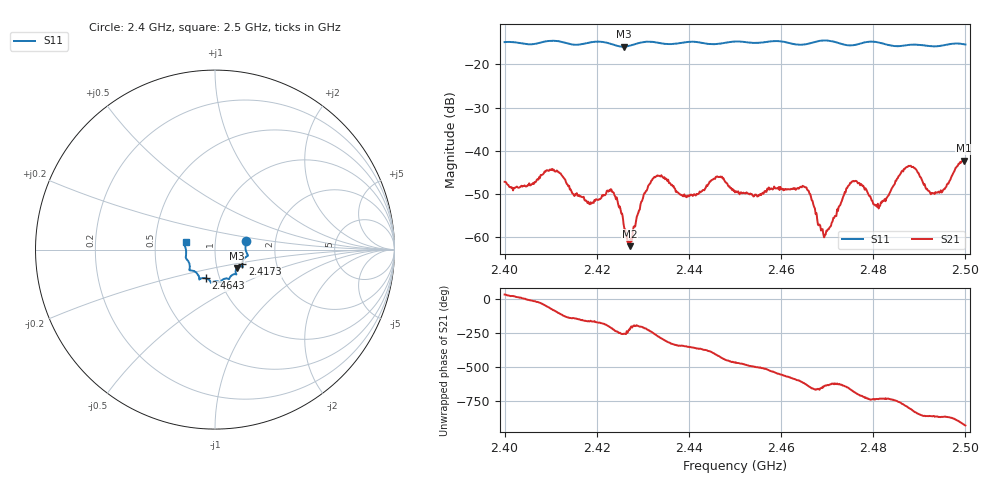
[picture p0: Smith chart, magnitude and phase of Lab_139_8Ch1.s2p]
# Hz S RI R 50
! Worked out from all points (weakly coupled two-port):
!   601 points, 2.4 GHz to 2.5 GHz, reference 50 ohm
!   highest |S21| = -42.31 dB at 2.4997 GHz (marker M1); lowest = -62.1 dB at 2.4272 GHz (marker M2)
!   lowest |S11| = -15.9 dB at 2.4258 GHz (marker M3), VSWR 1.38, Z = 62.2 - j13.3 ohm
!   |S11| at or under -10 dB: start of sweep to end of sweep
!   S12 and S22 are empty: the file has one direction only
!   S11 on the Smith chart (normalised r, x): 2.4 GHz: 1.41, +0.14; 2.4173 GHz: 1.34, -0.23; 2.4643 GHz: 0.86, -0.28; 2.5 GHz: 0.72, +0.06
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2.4e9  0.1733 0.0496  0.00376 0.00225  0 0  0 0
2.410333e9  0.1839 -0.033  0.00124 -0.00605  0 0  0 0
2.416667e9  0.1528 -0.0749  -0.00272 -0.00111  0 0  0 0
2.417333e9  0.1522 -0.0823  -0.00259 -0.000786  0 0  0 0
2.423167e9  0.1439 -0.0935  -0.00287 0.00212  0 0  0 0
2.425833e9  0.1214 -0.1038  -0.000303 0.00137  0 0  0 0
2.427167e9  0.1159 -0.1159  -0.000543 0.000574  0 0  0 0
2.430167e9  0.1183 -0.1366  -0.00261 0.00163  0 0  0 0
2.433333e9  0.1129 -0.1367  0.00072 0.00508  0 0  0 0
2.439e9  0.081 -0.1598  0.00307 0.000599  0 0  0 0
2.446333e9  0.0448 -0.1662  0.00251 -0.00429  0 0  0 0
2.45e9  0.0299 -0.1807  -0.00112 -0.00311  0 0  0 0
2.464333e9  -0.05 -0.1603  -0.00136 0.00359  0 0  0 0
2.466667e9  -0.0761 -0.1598  0.0013 0.00233  0 0  0 0
2.469667e9  -0.0878 -0.1666  0.00013 0.00107  0 0  0 0
2.4755e9  -0.1116 -0.1225  0.00325 0.003  0 0  0 0
2.480833e9  -0.1423 -0.1102  0.00215 -0.000643  0 0  0 0
2.483333e9  -0.1407 -0.0896  0.00296 -0.000761  0 0  0 0
2.487667e9  -0.1589 -0.0525  0.00096 -0.00663  0 0  0 0
2.4945e9  -0.163 0.00461  -0.00288 -0.00165  0 0  0 0
2.499667e9  -0.1654 0.0398  -0.00693 0.00329  0 0  0 0
2.5e9  -0.1638 0.0419  -0.00647 0.00398  0 0  0 0
